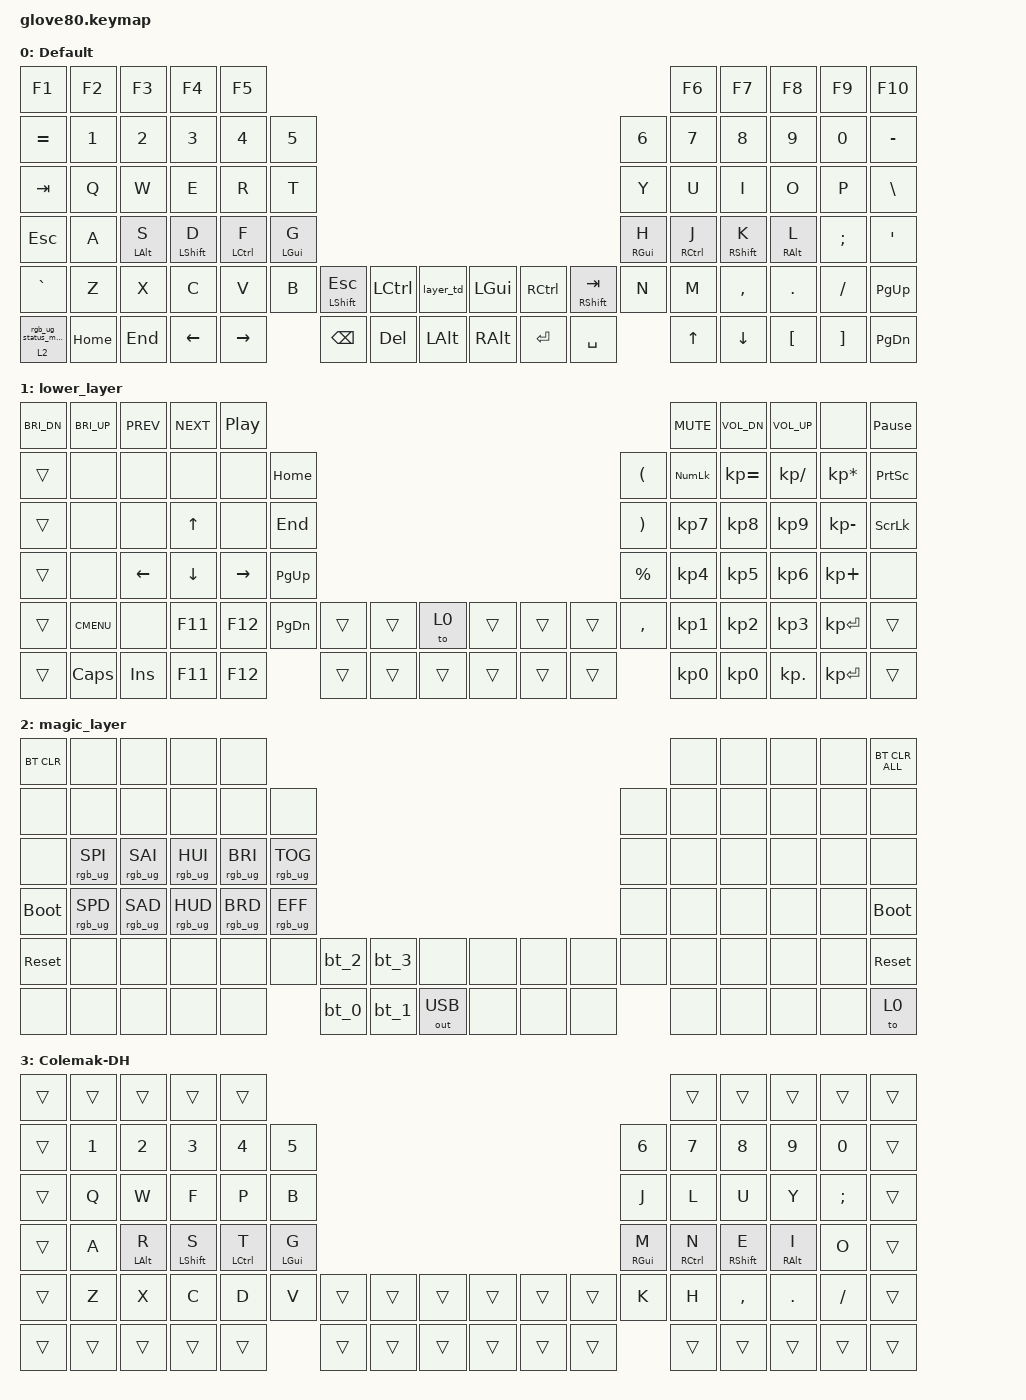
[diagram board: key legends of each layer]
/*
 * Copyright (c) 2020 The ZMK Contributors
 *
 * SPDX-License-Identifier: MIT
 */

#include <behaviors.dtsi>
#include <dt-bindings/zmk/bt.h>
#include <dt-bindings/zmk/keys.h>
#include <dt-bindings/zmk/outputs.h>
#include <dt-bindings/zmk/rgb.h>

#define HYPER LC(LS(LG(LALT)))

// layers

#define DEFAULT 0
#define LOWER 1
#define MAGIC 2
#define FACTORY_TEST 3

/ {
    behaviors {
        // For the "layer" key, it'd nice to be able to use it as either a shift or a toggle.
        // Configure it as a tap dance, so the first tap (or hold) is a &mo and the second tap is a &to

        layer_td: tap_dance_0 {
            compatible = "zmk,behavior-tap-dance";
            label = "LAYER_TAP_DANCE";
            #binding-cells = <0>;
            tapping-term-ms = <200>;
            bindings = <&mo 1>, <&to 1>;
        };

        magic: magic_hold_tap {
            compatible = "zmk,behavior-hold-tap";
            label = "MAGIC_HOLD_TAP";
            #binding-cells = <2>;
            flavor = "tap-preferred";
            tapping-term-ms = <200>;
            bindings = <&mo>, <&rgb_ug_status_macro>;
        };

        hrml: hrml {
            compatible = "zmk,behavior-hold-tap";
            label = "HRML";
            bindings = <&kp>, <&kp>;

            #binding-cells = <2>;
            tapping-term-ms = <200>;
            require-prior-idle-ms = <150>;
            flavor = "balanced";
            hold-trigger-on-release;
            hold-trigger-key-positions = <39 38 37 36>;
        };

        hrmr: hrmr {
            compatible = "zmk,behavior-hold-tap";
            label = "HRMR";
            bindings = <&kp>, <&kp>;

            #binding-cells = <2>;
            tapping-term-ms = <200>;
            require-prior-idle-ms = <150>;
            flavor = "balanced";
            hold-trigger-on-release;
            hold-trigger-key-positions = <40 41 42 43>;
        };
    };

    macros {
        rgb_ug_status_macro: rgb_ug_status_macro_0 {
            label = "RGB_UG_STATUS";
            compatible = "zmk,behavior-macro";
            #binding-cells = <0>;
            bindings = <&rgb_ug RGB_STATUS>;
        };

        bt_0: bt_profile_macro_0 {
            label = "BT_0";
            compatible = "zmk,behavior-macro";
            #binding-cells = <0>;
            bindings = <&out OUT_BLE &bt BT_SEL 0>;
        };

        bt_1: bt_profile_macro_1 {
            label = "BT_1";
            compatible = "zmk,behavior-macro";
            #binding-cells = <0>;
            bindings = <&out OUT_BLE &bt BT_SEL 1>;
        };

        bt_2: bt_profile_macro_2 {
            label = "BT_2";
            compatible = "zmk,behavior-macro";
            #binding-cells = <0>;
            bindings = <&out OUT_BLE &bt BT_SEL 2>;
        };

        bt_3: bt_profile_macro_3 {
            label = "BT_3";
            compatible = "zmk,behavior-macro";
            #binding-cells = <0>;
            bindings = <&out OUT_BLE &bt BT_SEL 3>;
        };
    };

    combos {
        compatible = "zmk,combos";

        switch-colemak-dh {
            bindings = <&to 3>;
            key-positions = <51 58>;
            timeout-ms = <50>;
            layers = <0>;
        };

        switch-qwerty {
            bindings = <&to 0>;
            key-positions = <51 58>;
            timeout-ms = <50>;
            layers = <3>;
        };
    };

    keymap {
        compatible = "zmk,keymap";

        Default {
            // ---------------------------------------------------------------------------------------------------------------------------------
            // |  F1   |  F2 |  F3 |  F4  |  F5  |                                                               |  F6   |  F7   |  F8  |   F9  |  F10 |
            // |  =    |  1  |  2  |  3   |  4   |  5   |                                                 |  6   |   7   |   8   |  9   |   0   |   -  |
            // |  TAB  |  Q  |  W  |  E   |  R   |  T   |                                                 |  Y   |   U   |   I   |  O   |   P   |   \  |
            // |  ESC  |  A  |  S  |  D   |  F   |  G   |                                                 |  H   |   J   |   K   |  L   |   ;   |   '  |
            // |   `   |  Z  |  X  |  C   |  V   |  B   | LSHFT | LCTRL | LOWER | | LGUI  | RCTRL | RSHFT |  N   |   M   |   ,   |  .   |   /   | PGUP |
            // | MAGIC | HOME| END | LEFT | RIGHT|      | BSPC  | DEL   | LALT  | | RALT  | RET   | SPACE |      |  UP   | DOWN  |  [   |   ]   | PGDN |

            bindings = <
&kp F1      &kp F2    &kp F3            &kp F4              &kp F5                                                                                                                                     &kp F6         &kp F7               &kp F8             &kp F9    &kp F10
&kp EQUAL   &kp N1    &kp N2            &kp N3              &kp N4         &kp N5                                                                                                   &kp N6             &kp N7         &kp N8               &kp N9             &kp N0    &kp MINUS
&kp TAB     &kp Q     &kp W             &kp E               &kp R          &kp T                                                                                                    &kp Y              &kp U          &kp I                &kp O              &kp P     &kp BSLH
&kp ESC     &kp A     &hrml LEFT_ALT S  &hrml LEFT_SHIFT D  &hrml LCTRL F  &hrml LEFT_GUI G                                                                                         &hrmr RIGHT_GUI H  &hrmr RCTRL J  &hrmr RIGHT_SHIFT K  &hrmr RIGHT_ALT L  &kp SEMI  &kp SQT
&kp GRAVE   &kp Z     &kp X             &kp C               &kp V          &kp B             &mt LEFT_SHIFT ESCAPE  &kp LCTRL  &layer_td  &kp LGUI  &kp RCTRL  &mt RIGHT_SHIFT TAB  &kp N              &kp M          &kp COMMA            &kp DOT            &kp FSLH  &kp PG_UP
&magic 2 0  &kp HOME  &kp END           &kp LEFT            &kp RIGHT                        &kp BSPC               &kp DEL    &kp LALT   &kp RALT  &kp RET    &kp SPACE                               &kp UP         &kp DOWN             &kp LBKT           &kp RBKT  &kp PG_DN
            >;
        };

        lower_layer {
            bindings = <
&kp C_BRI_DN  &kp C_BRI_UP  &kp C_PREV  &kp C_NEXT  &kp C_PP                                                                         &kp C_MUTE  &kp C_VOL_DN  &kp C_VOL_UP   &none            &kp PAUSE_BREAK
&trans        &none         &none       &none       &none      &kp HOME                                                   &kp LPAR   &kp KP_NUM  &kp KP_EQUAL  &kp KP_DIVIDE  &kp KP_MULTIPLY  &kp PSCRN
&trans        &none         &none       &kp UP      &none      &kp END                                                    &kp RPAR   &kp KP_N7   &kp KP_N8     &kp KP_N9      &kp KP_MINUS     &kp SLCK
&trans        &none         &kp LEFT    &kp DOWN    &kp RIGHT  &kp PG_UP                                                  &kp PRCNT  &kp KP_N4   &kp KP_N5     &kp KP_N6      &kp KP_PLUS      &none
&trans        &kp K_CMENU   &none       &kp F11     &kp F12    &kp PG_DN  &trans  &trans  &to 0   &trans  &trans  &trans  &kp COMMA  &kp KP_N1   &kp KP_N2     &kp KP_N3      &kp KP_ENTER     &trans
&trans        &kp CAPS      &kp INS     &kp F11     &kp F12               &trans  &trans  &trans  &trans  &trans  &trans             &kp KP_N0   &kp KP_N0     &kp KP_DOT     &kp KP_ENTER     &trans
            >;
        };

        magic_layer {
            bindings = <
&bt BT_CLR   &none            &none            &none            &none                                                                                     &none  &none  &none  &none  &bt BT_CLR_ALL
&none        &none            &none            &none            &none            &none                                                             &none  &none  &none  &none  &none  &none
&none        &rgb_ug RGB_SPI  &rgb_ug RGB_SAI  &rgb_ug RGB_HUI  &rgb_ug RGB_BRI  &rgb_ug RGB_TOG                                                   &none  &none  &none  &none  &none  &none
&bootloader  &rgb_ug RGB_SPD  &rgb_ug RGB_SAD  &rgb_ug RGB_HUD  &rgb_ug RGB_BRD  &rgb_ug RGB_EFF                                                   &none  &none  &none  &none  &none  &bootloader
&sys_reset   &none            &none            &none            &none            &none            &bt_2  &bt_3  &none         &none  &none  &none  &none  &none  &none  &none  &none  &sys_reset
&none        &none            &none            &none            &none                             &bt_0  &bt_1  &out OUT_USB  &none  &none  &none         &none  &none  &none  &none  &to 0
            >;
        };

        Colemak-DH {
            bindings = <
&trans  &trans  &trans            &trans              &trans                                                                                              &trans         &trans               &trans             &trans    &trans
&trans  &kp N1  &kp N2            &kp N3              &kp N4         &kp N5                                                            &kp N6             &kp N7         &kp N8               &kp N9             &kp N0    &trans
&trans  &kp Q   &kp W             &kp F               &kp P          &kp B                                                             &kp J              &kp L          &kp U                &kp Y              &kp SEMI  &trans
&trans  &kp A   &hrml LEFT_ALT R  &hrml LEFT_SHIFT S  &hrml LCTRL T  &hrml LEFT_GUI G                                                  &hrmr RIGHT_GUI M  &hrmr RCTRL N  &hrmr RIGHT_SHIFT E  &hrmr RIGHT_ALT I  &kp O     &trans
&trans  &kp Z   &kp X             &kp C               &kp D          &kp V             &trans  &trans  &trans  &trans  &trans  &trans  &kp K              &kp H          &kp COMMA            &kp DOT            &kp FSLH  &trans
&trans  &trans  &trans            &trans              &trans                           &trans  &trans  &trans  &trans  &trans  &trans                     &trans         &trans               &trans             &trans    &trans
            >;
        };
    };
};
